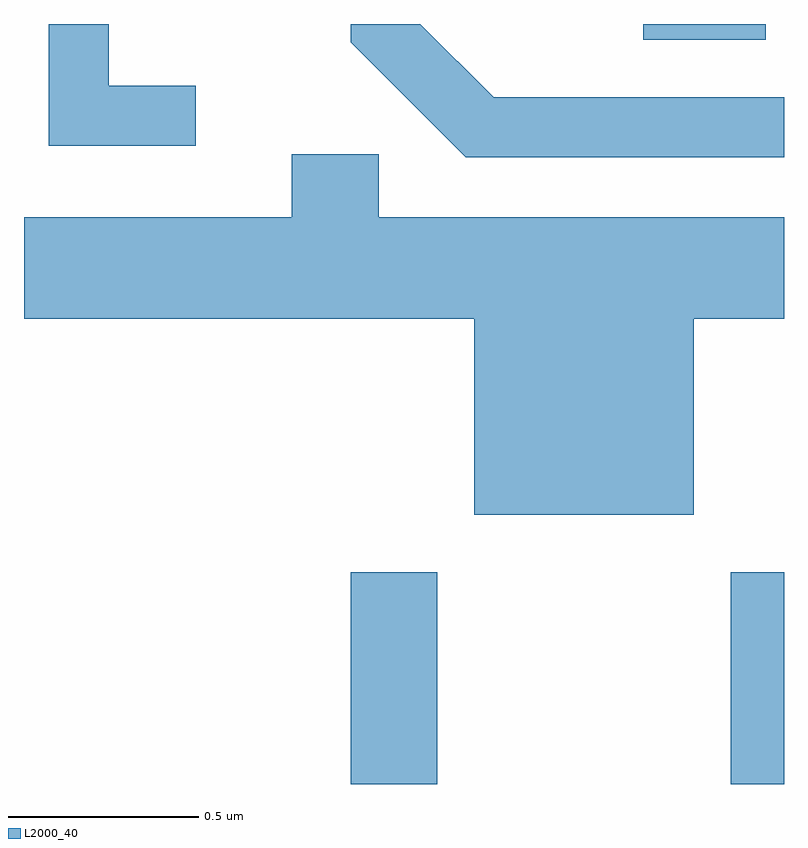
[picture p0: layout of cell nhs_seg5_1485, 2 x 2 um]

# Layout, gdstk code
import gdstk
lib = gdstk.Library(unit=1e-6, precision=1e-09)
def R(c, l, rs):  # rectangles x0, y0, x1, y1
    for r in rs: c.add(gdstk.rectangle(r[:2], r[2:], *l))
def P(c, l, *ps):  # polygons
    for p in ps: c.add(gdstk.Polygon(p, *l))
L2000_40 = (2000, 40)

nhs_seg5_1485 = lib.new_cell('nhs_seg5_1485')
R(nhs_seg5_1485, L2000_40, [(196.471,1511.072,196.699,1511.629), (197.471,1511.072,197.611,1511.629), (197.241,1513.031,197.563,1513.072)])
P(nhs_seg5_1485, L2000_40, [(197.611,1512.879),(196.847,1512.879),(196.654,1513.072),(196.471,1513.072),(196.471,1513.024),(196.774,1512.721),(197.611,1512.721)],
  [(196.063,1512.909),(195.834,1512.909),(195.834,1513.072),(195.676,1513.072),(195.676,1512.751),(196.063,1512.751)],
  [(197.374,1512.296),(197.611,1512.296),(197.611,1512.564),(196.544,1512.564),(196.544,1512.729),(196.316,1512.729),(196.316,1512.564),(195.611,1512.564),(195.611,1512.296),(196.796,1512.296),(196.796,1511.781),(197.374,1511.781)])

lib.write_gds('nhs_seg5_1485.gds')
